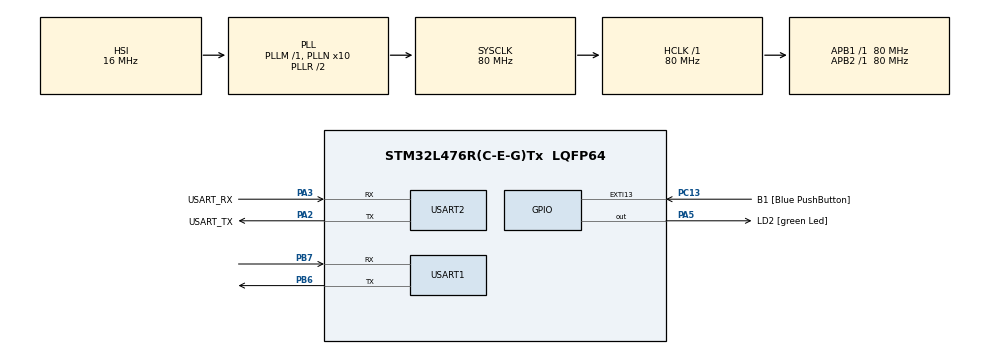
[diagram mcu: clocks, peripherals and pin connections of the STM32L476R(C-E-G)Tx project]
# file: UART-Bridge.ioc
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Mcu.Family=STM32L4
Mcu.Name=STM32L476R(C-E-G)Tx
Mcu.Package=LQFP64
NVIC.PriorityGroup=NVIC_PRIORITYGROUP_4
NVIC.USART1_IRQn=true\:0\:0\:false\:false\:true\:true\:true\:true
NVIC.USART2_IRQn=true\:0\:0\:false\:false\:true\:true\:true\:true
PA13\ (JTMS-SWDIO).GPIO_Label=TMS
PA13\ (JTMS-SWDIO).Mode=Serial_Wire
PA13\ (JTMS-SWDIO).Signal=SYS_JTMS-SWDIO
PA14\ (JTCK-SWCLK).GPIO_Label=TCK
PA14\ (JTCK-SWCLK).Mode=Serial_Wire
PA14\ (JTCK-SWCLK).Signal=SYS_JTCK-SWCLK
PA2.GPIO_Label=USART_TX
PA2.GPIO_Mode=GPIO_MODE_AF_PP
PA2.GPIO_PuPd=GPIO_NOPULL
PA2.GPIO_Speed=GPIO_SPEED_FREQ_VERY_HIGH
PA2.Mode=Asynchronous
PA2.Signal=USART2_TX
PA3.GPIO_Label=USART_RX
PA3.GPIO_Mode=GPIO_MODE_AF_PP
PA3.GPIO_PuPd=GPIO_NOPULL
PA3.GPIO_Speed=GPIO_SPEED_FREQ_VERY_HIGH
PA3.Mode=Asynchronous
PA3.Signal=USART2_RX
PA5.GPIO_Label=LD2 [green Led]
PA5.GPIO_ModeDefaultOutputPP=GPIO_MODE_OUTPUT_PP
PA5.GPIO_PuPd=GPIO_NOPULL
PA5.GPIO_Speed=GPIO_SPEED_FREQ_LOW
PA5.Signal=GPIO_Output
PB3\ (JTDO-TRACESWO).GPIO_Label=SWO
PB3\ (JTDO-TRACESWO).Signal=SYS_JTDO-SWO
PB6.Mode=Asynchronous
PB6.Signal=USART1_TX
PB7.Mode=Asynchronous
PB7.Signal=USART1_RX
PC13.GPIO_Label=B1 [Blue PushButton]
PC13.GPIO_ModeDefaultEXTI=GPIO_MODE_IT_FALLING
PC13.GPIO_PuPd=GPIO_NOPULL
PC13.Signal=GPXTI13
PC14-OSC32_IN\ (PC14).Mode=LSE-External-Oscillator
PC14-OSC32_IN\ (PC14).Signal=RCC_OSC32_IN
PC15-OSC32_OUT\ (PC15).Mode=LSE-External-Oscillator
PC15-OSC32_OUT\ (PC15).Signal=RCC_OSC32_OUT
PH0-OSC_IN\ (PH0).Signal=RCC_OSC_IN
PH1-OSC_OUT\ (PH1).Signal=RCC_OSC_OUT
ProjectManager.HeapSize=0x200
ProjectManager.StackSize=0x400
ProjectManager.TargetToolchain=STM32CubeIDE
RCC.ADCFreq_Value=64000000
RCC.AHBFreq_Value=80000000
RCC.APB1Freq_Value=80000000
RCC.APB1TimFreq_Value=80000000
RCC.APB2Freq_Value=80000000
RCC.APB2TimFreq_Value=80000000
RCC.CortexFreq_Value=80000000
RCC.HCLKFreq_Value=80000000
RCC.HSE_VALUE=8000000
RCC.HSI_VALUE=16000000
RCC.MSI_VALUE=4000000
RCC.PLLN=10
RCC.PLLSourceVirtual=RCC_PLLSOURCE_HSI
RCC.PREFETCH_ENABLE=1
RCC.SYSCLKFreq_VALUE=80000000
RCC.SYSCLKSource=RCC_SYSCLKSOURCE_PLLCLK
RCC.USBFreq_Value=64000000
RCC.VCOOutputFreq_Value=160000000
USART1.VirtualMode-Asynchronous=VM_ASYNC
USART2.VirtualMode-Asynchronous=VM_ASYNC
board=NUCLEO-L476RG

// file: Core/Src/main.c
/* USER CODE BEGIN Header */
/**
  ******************************************************************************
  * @file           : main.c
  * @brief          : Main program body
  ******************************************************************************
  * @attention
  *
  * Copyright (c) 2023 STMicroelectronics.
  * All rights reserved.
  *
  * This software is licensed under terms that can be found in the LICENSE file
  * in the root directory of this software component.
  * If no LICENSE file comes with this software, it is provided AS-IS.
  *
  ******************************************************************************
  */
/* USER CODE END Header */
#include "main.h"

/* USER CODE BEGIN Includes */
#include <stdio.h>

#include "ring_buffer.h"
/* USER CODE END Includes */

/* USER CODE BEGIN PV */
#define PACKET_LEN 27 // expected packet size

uint8_t usart1_rx_buffer[PACKET_LEN];
ring_buffer_t usart1_rb;

uint8_t usart2_rx_buffer[PACKET_LEN];
ring_buffer_t usart2_rb;

uint32_t timestamp_usart1 = 0;
uint32_t timestamp_usart2 = 0;
/* USER CODE END PV */

void SystemClock_Config(void);
static void MX_GPIO_Init(void);
static void MX_USART2_UART_Init(void);
static void MX_USART1_UART_Init(void);

/* USER CODE BEGIN 0 */
int _write(int file, char *ptr, int len)
{
  for (uint8_t idx = 0; idx < len; idx++) {
	  // send byte by byte in blocking mode
	  while (LL_USART_IsActiveFlag_TXE(USART2) == 0) {
		  // wait until Tx Empty flag becomes true
	  }
	  LL_USART_TransmitData8(USART2, ptr[idx]);
  }
  return len;
}

void user_rx_callback_usart_1(void)
{
	if (LL_USART_IsActiveFlag_RXNE(USART1) != 0) {
		uint8_t data = LL_USART_ReceiveData8(USART1);
		if (ring_buffer_put(&usart1_rb, data) == 0 && // buffer is full
				timestamp_usart1 == 0) { // full first time
			timestamp_usart1 = HAL_GetTick();
		}
	}
}

void user_rx_callback_usart_2(void)
{
	if (LL_USART_IsActiveFlag_RXNE(USART2) != 0) {
		uint8_t data = LL_USART_ReceiveData8(USART2);
		if (ring_buffer_put(&usart2_rb, data) == 0 && // buffer is full
				timestamp_usart2 == 0) { // full first time
			timestamp_usart2 = HAL_GetTick();
		}
	}
}
/* USER CODE END 0 */

int main(void)
{

  /* MCU Configuration--------------------------------------------------------*/

  /* Reset of all peripherals, Initializes the Flash interface and the Systick. */
  HAL_Init();

  /* Configure the system clock */
  SystemClock_Config();

  /* Initialize all configured peripherals */
  MX_GPIO_Init();
  MX_USART2_UART_Init();
  MX_USART1_UART_Init();
  /* USER CODE BEGIN 2 */
  ring_buffer_init(&usart1_rb, usart1_rx_buffer, PACKET_LEN);
  ring_buffer_init(&usart2_rb, usart2_rx_buffer, PACKET_LEN);

  LL_USART_EnableIT_RXNE(USART1);
  LL_USART_EnableIT_RXNE(USART2);
  /* USER CODE END 2 */

  /* Infinite loop */
  /* USER CODE BEGIN WHILE */
  printf("Waiting for commands...\r\n");
  while (1)
  {
	  if (timestamp_usart1 != 0) {
		  printf("TS1: %ld\r\n", timestamp_usart1);
		  ring_buffer_reset(&usart1_rb); // discard data
		  timestamp_usart1 = 0;
	  }
	  if (timestamp_usart2 != 0) {
		  printf("TS2: %ld\r\n", timestamp_usart2);
		  ring_buffer_reset(&usart2_rb); // discard data
		  timestamp_usart2 = 0;
	  }
    /* USER CODE END WHILE */

  }
}

void SystemClock_Config(void)
{
  RCC_OscInitTypeDef RCC_OscInitStruct = {0};
  RCC_ClkInitTypeDef RCC_ClkInitStruct = {0};

  /** Configure the main internal regulator output voltage
  */
  if (HAL_PWREx_ControlVoltageScaling(PWR_REGULATOR_VOLTAGE_SCALE1) != HAL_OK)
  {
    Error_Handler();
  }

  /** Initializes the RCC Oscillators according to the specified parameters
  * in the RCC_OscInitTypeDef structure.
  */
  RCC_OscInitStruct.OscillatorType = RCC_OSCILLATORTYPE_HSI;
  RCC_OscInitStruct.HSIState = RCC_HSI_ON;
  RCC_OscInitStruct.HSICalibrationValue = RCC_HSICALIBRATION_DEFAULT;
  RCC_OscInitStruct.PLL.PLLState = RCC_PLL_ON;
  RCC_OscInitStruct.PLL.PLLSource = RCC_PLLSOURCE_HSI;
  RCC_OscInitStruct.PLL.PLLM = 1;
  RCC_OscInitStruct.PLL.PLLN = 10;
  RCC_OscInitStruct.PLL.PLLP = RCC_PLLP_DIV7;
  RCC_OscInitStruct.PLL.PLLQ = RCC_PLLQ_DIV2;
  RCC_OscInitStruct.PLL.PLLR = RCC_PLLR_DIV2;
  if (HAL_RCC_OscConfig(&RCC_OscInitStruct) != HAL_OK)
  {
    Error_Handler();
  }

  /** Initializes the CPU, AHB and APB buses clocks
  */
  RCC_ClkInitStruct.ClockType = RCC_CLOCKTYPE_HCLK|RCC_CLOCKTYPE_SYSCLK
                              |RCC_CLOCKTYPE_PCLK1|RCC_CLOCKTYPE_PCLK2;
  RCC_ClkInitStruct.SYSCLKSource = RCC_SYSCLKSOURCE_PLLCLK;
  RCC_ClkInitStruct.AHBCLKDivider = RCC_SYSCLK_DIV1;
  RCC_ClkInitStruct.APB1CLKDivider = RCC_HCLK_DIV1;
  RCC_ClkInitStruct.APB2CLKDivider = RCC_HCLK_DIV1;

  if (HAL_RCC_ClockConfig(&RCC_ClkInitStruct, FLASH_LATENCY_4) != HAL_OK)
  {
    Error_Handler();
  }
}

static void MX_USART1_UART_Init(void)
{

  LL_USART_InitTypeDef USART_InitStruct = {0};

  LL_GPIO_InitTypeDef GPIO_InitStruct = {0};
  RCC_PeriphCLKInitTypeDef PeriphClkInit = {0};

  /** Initializes the peripherals clock
  */
  PeriphClkInit.PeriphClockSelection = RCC_PERIPHCLK_USART1;
  PeriphClkInit.Usart1ClockSelection = RCC_USART1CLKSOURCE_PCLK2;
  if (HAL_RCCEx_PeriphCLKConfig(&PeriphClkInit) != HAL_OK)
  {
    Error_Handler();
  }

  /* Peripheral clock enable */
  LL_APB2_GRP1_EnableClock(LL_APB2_GRP1_PERIPH_USART1);

  LL_AHB2_GRP1_EnableClock(LL_AHB2_GRP1_PERIPH_GPIOB);
  /**USART1 GPIO Configuration
  PB6   ------> USART1_TX
  PB7   ------> USART1_RX
  */
  GPIO_InitStruct.Pin = LL_GPIO_PIN_6|LL_GPIO_PIN_7;
  GPIO_InitStruct.Mode = LL_GPIO_MODE_ALTERNATE;
  GPIO_InitStruct.Speed = LL_GPIO_SPEED_FREQ_VERY_HIGH;
  GPIO_InitStruct.OutputType = LL_GPIO_OUTPUT_PUSHPULL;
  GPIO_InitStruct.Pull = LL_GPIO_PULL_NO;
  GPIO_InitStruct.Alternate = LL_GPIO_AF_7;
  LL_GPIO_Init(GPIOB, &GPIO_InitStruct);

  /* USART1 interrupt Init */
  NVIC_SetPriority(USART1_IRQn, NVIC_EncodePriority(NVIC_GetPriorityGrouping(),0, 0));
  NVIC_EnableIRQ(USART1_IRQn);

  USART_InitStruct.BaudRate = 115200;
  USART_InitStruct.DataWidth = LL_USART_DATAWIDTH_8B;
  USART_InitStruct.StopBits = LL_USART_STOPBITS_1;
  USART_InitStruct.Parity = LL_USART_PARITY_NONE;
  USART_InitStruct.TransferDirection = LL_USART_DIRECTION_TX_RX;
  USART_InitStruct.HardwareFlowControl = LL_USART_HWCONTROL_NONE;
  USART_InitStruct.OverSampling = LL_USART_OVERSAMPLING_16;
  LL_USART_Init(USART1, &USART_InitStruct);
  LL_USART_ConfigAsyncMode(USART1);
  LL_USART_Enable(USART1);

}

static void MX_USART2_UART_Init(void)
{

  LL_USART_InitTypeDef USART_InitStruct = {0};

  LL_GPIO_InitTypeDef GPIO_InitStruct = {0};
  RCC_PeriphCLKInitTypeDef PeriphClkInit = {0};

  /** Initializes the peripherals clock
  */
  PeriphClkInit.PeriphClockSelection = RCC_PERIPHCLK_USART2;
  PeriphClkInit.Usart2ClockSelection = RCC_USART2CLKSOURCE_PCLK1;
  if (HAL_RCCEx_PeriphCLKConfig(&PeriphClkInit) != HAL_OK)
  {
    Error_Handler();
  }

  /* Peripheral clock enable */
  LL_APB1_GRP1_EnableClock(LL_APB1_GRP1_PERIPH_USART2);

  LL_AHB2_GRP1_EnableClock(LL_AHB2_GRP1_PERIPH_GPIOA);
  /**USART2 GPIO Configuration
  PA2   ------> USART2_TX
  PA3   ------> USART2_RX
  */
  GPIO_InitStruct.Pin = LL_GPIO_PIN_2|LL_GPIO_PIN_3;
  GPIO_InitStruct.Mode = LL_GPIO_MODE_ALTERNATE;
  GPIO_InitStruct.Speed = LL_GPIO_SPEED_FREQ_VERY_HIGH;
  GPIO_InitStruct.OutputType = LL_GPIO_OUTPUT_PUSHPULL;
  GPIO_InitStruct.Pull = LL_GPIO_PULL_NO;
  GPIO_InitStruct.Alternate = LL_GPIO_AF_7;
  LL_GPIO_Init(GPIOA, &GPIO_InitStruct);

  /* USART2 interrupt Init */
  NVIC_SetPriority(USART2_IRQn, NVIC_EncodePriority(NVIC_GetPriorityGrouping(),0, 0));
  NVIC_EnableIRQ(USART2_IRQn);

  USART_InitStruct.BaudRate = 115200;
  USART_InitStruct.DataWidth = LL_USART_DATAWIDTH_8B;
  USART_InitStruct.StopBits = LL_USART_STOPBITS_1;
  USART_InitStruct.Parity = LL_USART_PARITY_NONE;
  USART_InitStruct.TransferDirection = LL_USART_DIRECTION_TX_RX;
  USART_InitStruct.HardwareFlowControl = LL_USART_HWCONTROL_NONE;
  USART_InitStruct.OverSampling = LL_USART_OVERSAMPLING_16;
  LL_USART_Init(USART2, &USART_InitStruct);
  LL_USART_ConfigAsyncMode(USART2);
  LL_USART_Enable(USART2);

}

static void MX_GPIO_Init(void)
{
  GPIO_InitTypeDef GPIO_InitStruct = {0};

  /* GPIO Ports Clock Enable */
  __HAL_RCC_GPIOC_CLK_ENABLE();
  __HAL_RCC_GPIOH_CLK_ENABLE();
  __HAL_RCC_GPIOA_CLK_ENABLE();
  __HAL_RCC_GPIOB_CLK_ENABLE();

  /*Configure GPIO pin Output Level */
  HAL_GPIO_WritePin(LD2_GPIO_Port, LD2_Pin, GPIO_PIN_RESET);

  /*Configure GPIO pin : B1_Pin */
  GPIO_InitStruct.Pin = B1_Pin;
  GPIO_InitStruct.Mode = GPIO_MODE_IT_FALLING;
  GPIO_InitStruct.Pull = GPIO_NOPULL;
  HAL_GPIO_Init(B1_GPIO_Port, &GPIO_InitStruct);

  /*Configure GPIO pin : LD2_Pin */
  GPIO_InitStruct.Pin = LD2_Pin;
  GPIO_InitStruct.Mode = GPIO_MODE_OUTPUT_PP;
  GPIO_InitStruct.Pull = GPIO_NOPULL;
  GPIO_InitStruct.Speed = GPIO_SPEED_FREQ_LOW;
  HAL_GPIO_Init(LD2_GPIO_Port, &GPIO_InitStruct);

}

void Error_Handler(void)
{
  __disable_irq();
  while (1)
  {
  }
}
